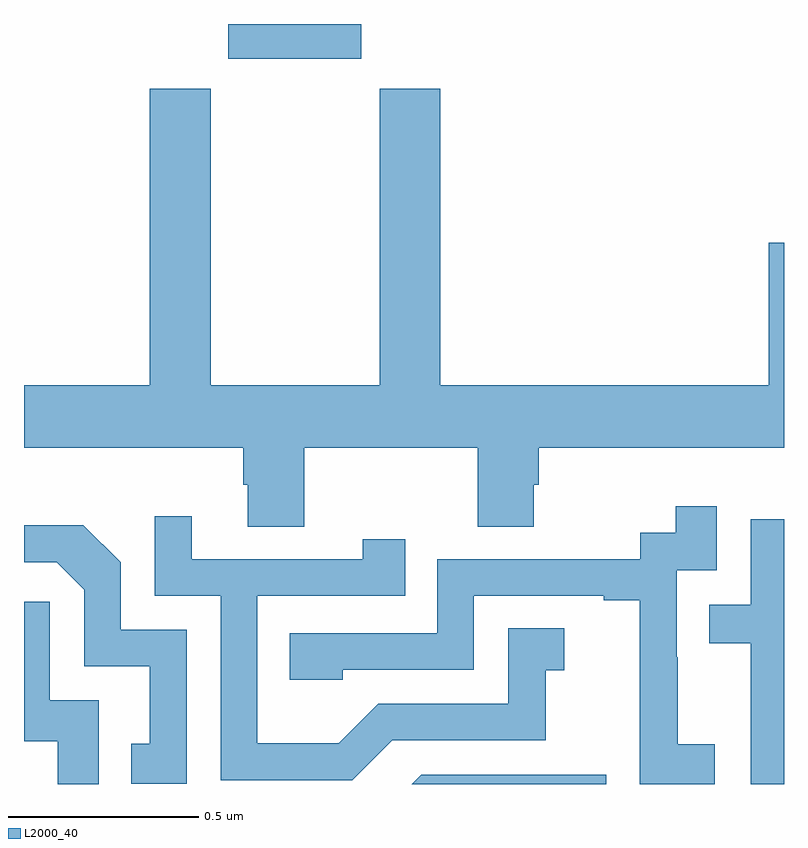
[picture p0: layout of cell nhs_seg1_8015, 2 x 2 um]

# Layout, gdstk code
import gdstk
lib = gdstk.Library(unit=1e-6, precision=1e-09)
def R(c, l, rs):  # rectangles x0, y0, x1, y1
    for r in rs: c.add(gdstk.rectangle(r[:2], r[2:], *l))
def P(c, l, *ps):  # polygons
    for p in ps: c.add(gdstk.Polygon(p, *l))
L2000_40 = (2000, 40)

nhs_seg1_8015 = lib.new_cell('nhs_seg1_8015')
R(nhs_seg1_8015, L2000_40, [(211.538,534.107,211.888,534.199)])
P(nhs_seg1_8015, L2000_40, [(211.737,533.084),(212.194,533.084),(212.194,532.876),(212.341,532.876),(212.341,532.986),(212.354,532.986),(212.354,533.084),(213,533.084),(213,533.623),(212.96,533.623),(212.96,533.248),(212.096,533.248),(212.096,534.028),(211.936,534.028),(211.936,533.248),(211.491,533.248),(211.491,534.028),(211.331,534.028),(211.331,533.248),(211,533.248),(211,533.084),(211.577,533.084),(211.577,532.986),(211.589,532.986),(211.589,532.876),(211.737,532.876)],
  [(212.818,532.303),(212.72,532.303),(212.72,532.532),(212.718,532.532),(212.718,532.761),(212.823,532.761),(212.823,532.93),(212.715,532.93),(212.715,532.86),(212.622,532.86),(212.622,532.791),(212.088,532.791),(212.088,532.596),(211.699,532.596),(211.699,532.473),(211.839,532.473),(211.839,532.5),(212.184,532.5),(212.184,532.695),(212.525,532.695),(212.525,532.683),(212.621,532.683),(212.621,532.399),(212.62,532.399),(212.62,532.199),(212.818,532.199)],
  [(211.969,532.314),(212.373,532.314),(212.373,532.499),(212.422,532.499),(212.422,532.609),(212.274,532.609),(212.274,532.41),(211.932,532.41),(211.828,532.306),(211.614,532.306),(211.614,532.695),(212.003,532.695),(212.003,532.843),(211.892,532.843),(211.892,532.791),(211.441,532.791),(211.441,532.903),(211.344,532.903),(211.344,532.695),(211.518,532.695),(211.518,532.209),(211.864,532.209)],
  [(213,532.896),(212.913,532.896),(212.913,532.671),(212.803,532.671),(212.803,532.57),(212.913,532.57),(212.913,532.199),(213,532.199)],
  [(211.428,532.605),(211.254,532.605),(211.254,532.782),(211.156,532.88),(211,532.88),(211,532.782),(211.086,532.782),(211.158,532.71),(211.158,532.509),(211.331,532.509),(211.331,532.305),(211.282,532.305),(211.282,532.2),(211.428,532.2)],
  [(211.197,532.419),(211.068,532.419),(211.068,532.678),(211,532.678),(211,532.311),(211.089,532.311),(211.089,532.199),(211.197,532.199)],
  [(212.532,532.224),(212.046,532.224),(212.021,532.199),(212.532,532.199)])

lib.write_gds('nhs_seg1_8015.gds')
